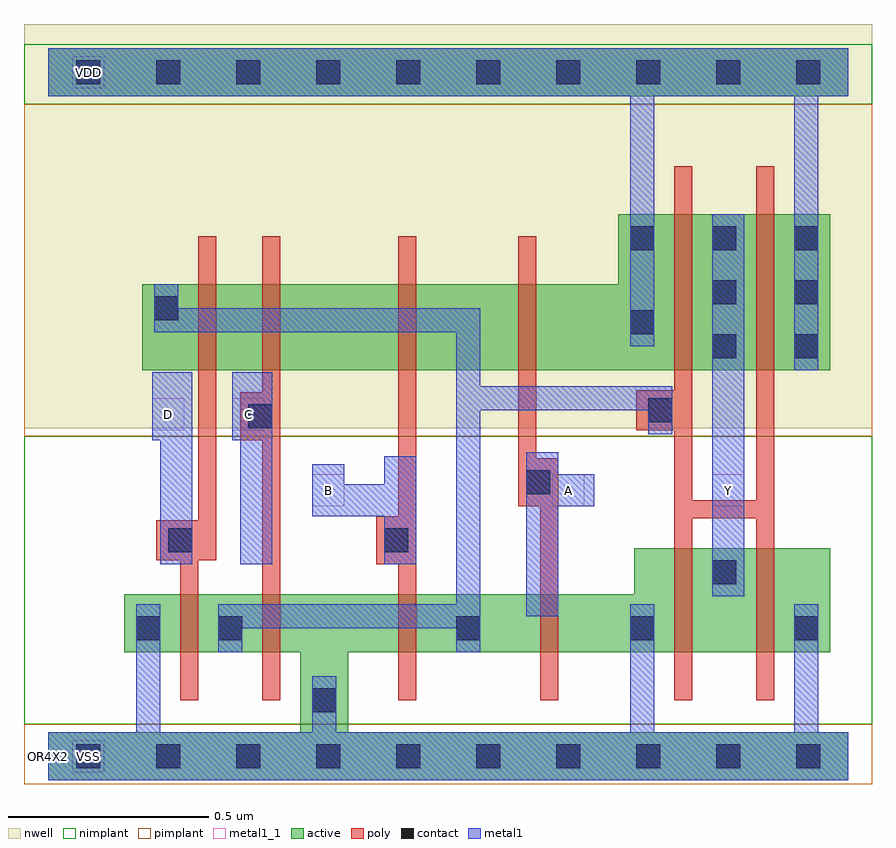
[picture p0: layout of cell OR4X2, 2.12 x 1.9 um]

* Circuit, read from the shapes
.subckt OR4X2 A B C D VDD VSS Y
M1 n1 D VSS VSS nfet w=0.145u l=0.045u
M2 VSS C n1 VSS nfet w=0.145u l=0.045u
M3 n1 B VSS VSS nfet w=0.145u l=0.045u
M4 VSS A n1 VSS nfet w=0.145u l=0.045u
M5 Y n1 VSS VSS nfet w=0.26u l=0.045u m=2
M6 n2 D n1 VDD pfet w=0.215u l=0.045u
M7 n3 C n2 VDD pfet w=0.215u l=0.045u
M8 n4 B n3 VDD pfet w=0.215u l=0.045u
M9 VDD A n4 VDD pfet w=0.215u l=0.045u
M10 Y n1 VDD VDD pfet w=0.39u l=0.045u m=2
.ends

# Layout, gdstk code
import gdstk
lib = gdstk.Library(unit=1e-6, precision=5e-10)
def R(c, l, rs):  # rectangles x0, y0, x1, y1
    for r in rs: c.add(gdstk.rectangle(r[:2], r[2:], *l))
def A(c, l, x, y, w, h, nx, ny, dx, dy):  # array of equal rectangles
    R(c, l, [(x+i*dx, y+j*dy, x+i*dx+w, y+j*dy+h) for i in range(nx) for j in range(ny)])
def P(c, l, *ps):  # polygons
    for p in ps: c.add(gdstk.Polygon(p, *l))
active = (1, 0)
nwell = (2, 0)
poly = (3, 0)
nimplant = (4, 0)
pimplant = (5, 0)
contact = (6, 0)
metal1 = (7, 0)
metal1_1 = (7, 1)

or4x2 = lib.new_cell('OR4X2')
R(or4x2, active, [(0,1.65,2,1.77)])
P(or4x2, active, [(1.425,1.355),(1.955,1.355),(1.955,0.965),(0.235,0.965),(0.235,1.18),(1.425,1.18)],
  [(1.465,0.52),(1.955,0.52),(1.955,0.26),(0.75,0.26),(0.75,0.06),(2,0.06),(2,-0.06),(0,-0.06),(0,0.06),(0.63,0.06),(0.63,0.26),(0.19,0.26),(0.19,0.405),(1.465,0.405)])
R(or4x2, nwell, [(-0.06,0.82,2.06,1.83)])
P(or4x2, poly, [(1.565,1.475),(1.61,1.475),(1.61,0.64),(1.77,0.64),(1.77,1.475),(1.815,1.475),(1.815,0.14),(1.77,0.14),(1.77,0.595),(1.61,0.595),(1.61,0.14),(1.565,0.14),(1.565,0.815),(1.47,0.815),(1.47,0.915),(1.565,0.915)],
  [(0.375,1.3),(0.42,1.3),(0.42,0.49),(0.375,0.49),(0.375,0.14),(0.33,0.14),(0.33,0.49),(0.27,0.49),(0.27,0.59),(0.375,0.59)],
  [(0.535,1.3),(0.58,1.3),(0.58,0.14),(0.535,0.14),(0.535,0.79),(0.48,0.79),(0.48,0.91),(0.535,0.91)],
  [(0.875,1.3),(0.92,1.3),(0.92,0.14),(0.875,0.14),(0.875,0.48),(0.82,0.48),(0.82,0.6),(0.875,0.6)],
  [(1.175,1.3),(1.22,1.3),(1.22,0.745),(1.275,0.745),(1.275,0.14),(1.23,0.14),(1.23,0.625),(1.175,0.625)])
R(or4x2, nimplant, [(-0.06,0.08,2.06,0.8), (-0.06,1.63,2.06,1.78)])
R(or4x2, pimplant, [(-0.06,-0.07,2.06,0.08), (-0.06,0.8,2.06,1.63)])
A(or4x2, contact, 0.07, -0.03, 0.06, 0.06, 10, 2, 0.2, 1.71)
A(or4x2, contact, 1.455, 1.265, 0.06, 0.06, 3, 1, 0.205, 0)
R(or4x2, contact, [(0.66,0.11,0.72,0.17), (0.22,0.29,0.28,0.35), (0.425,0.29,0.485,0.35), (1.02,0.29,1.08,0.35), (1.455,0.29,1.515,0.35), (1.865,0.29,1.925,0.35), (1.66,0.43,1.72,0.49), (0.3,0.51,0.36,0.57), (0.84,0.51,0.9,0.57), (1.195,0.655,1.255,0.715), (0.5,0.82,0.56,0.88), (1.5,0.835,1.56,0.895), (1.66,0.995,1.72,1.055), (1.865,0.995,1.925,1.055), (1.455,1.055,1.515,1.115), (0.265,1.09,0.325,1.15), (1.66,1.13,1.72,1.19), (1.865,1.13,1.925,1.19)])
R(or4x2, metal1, [(1.66,0.4,1.74,1.355)])
P(or4x2, metal1, [(0,1.77),(2,1.77),(2,1.65),(1.925,1.65),(1.925,0.965),(1.865,0.965),(1.865,1.65),(1.515,1.65),(1.515,1.025),(1.455,1.025),(1.455,1.65),(0,1.65)],
  [(0.265,1.18),(0.325,1.18),(0.325,1.12),(1.08,1.12),(1.08,0.925),(1.56,0.925),(1.56,0.805),(1.5,0.805),(1.5,0.865),(1.08,0.865),(1.08,0.26),(1.02,0.26),(1.02,0.32),(0.485,0.32),(0.485,0.26),(0.425,0.26),(0.425,0.38),(1.02,0.38),(1.02,1.06),(0.265,1.06)],
  [(0.26,0.96),(0.36,0.96),(0.36,0.48),(0.28,0.48),(0.28,0.79),(0.26,0.79)],
  [(0.46,0.96),(0.56,0.96),(0.56,0.48),(0.48,0.48),(0.48,0.79),(0.46,0.79)],
  [(0.66,0.73),(0.74,0.73),(0.74,0.68),(0.84,0.68),(0.84,0.75),(0.92,0.75),(0.92,0.48),(0.84,0.48),(0.84,0.6),(0.66,0.6)],
  [(0.22,0.38),(0.28,0.38),(0.28,0.06),(0.66,0.06),(0.66,0.2),(0.72,0.2),(0.72,0.06),(1.455,0.06),(1.455,0.38),(1.515,0.38),(1.515,0.06),(1.865,0.06),(1.865,0.38),(1.925,0.38),(1.925,0.06),(2,0.06),(2,-0.06),(0,-0.06),(0,0.06),(0.22,0.06)],
  [(1.195,0.76),(1.275,0.76),(1.275,0.705),(1.365,0.705),(1.365,0.625),(1.275,0.625),(1.275,0.35),(1.195,0.35)])
R(or4x2, metal1_1, [(0.06,-0.04,0.14,0.04), (0.66,0.625,0.74,0.705), (1.26,0.625,1.34,0.705), (1.66,0.625,1.74,0.705), (0.26,0.815,0.34,0.895), (0.46,0.815,0.54,0.895), (0.06,1.67,0.14,1.75)])
or4x2.add(gdstk.Label('Y', (1.7,0.665), layer=7, texttype=1))
or4x2.add(gdstk.Label('B', (0.7,0.665), layer=7, texttype=1))
or4x2.add(gdstk.Label('C', (0.5,0.855), layer=7, texttype=1))
or4x2.add(gdstk.Label('D', (0.3,0.855), layer=7, texttype=1))
or4x2.add(gdstk.Label('A', (1.3,0.665), layer=7, texttype=1))
or4x2.add(gdstk.Label('VDD', (0.1,1.71), layer=7, texttype=1))
or4x2.add(gdstk.Label('VSS', (0.1,0), layer=7, texttype=1))
or4x2.add(gdstk.Label('OR4X2', (0,0), layer=63, texttype=0))

lib.write_gds('OR4X2.gds')
